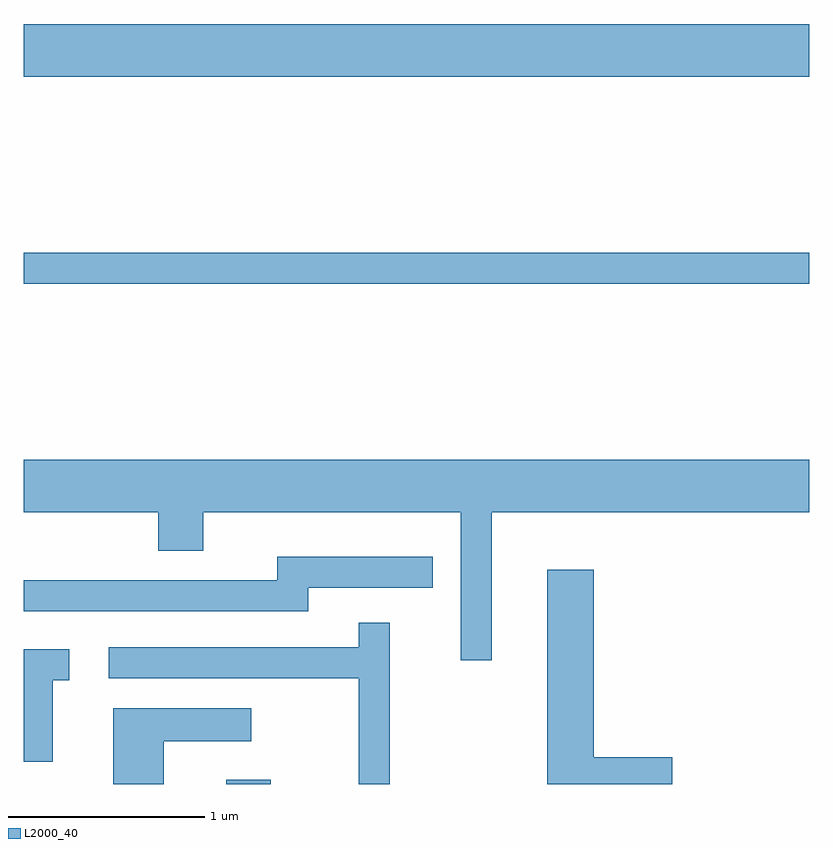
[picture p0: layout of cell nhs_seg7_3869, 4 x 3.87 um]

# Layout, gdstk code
import gdstk
lib = gdstk.Library(unit=1e-6, precision=1e-09)
def R(c, l, rs):  # rectangles x0, y0, x1, y1
    for r in rs: c.add(gdstk.rectangle(r[:2], r[2:], *l))
def P(c, l, *ps):  # polygons
    for p in ps: c.add(gdstk.Polygon(p, *l))
L2000_40 = (2000, 40)

nhs_seg7_3869 = lib.new_cell('nhs_seg7_3869')
R(nhs_seg7_3869, L2000_40, [(304.641,1726.252,304.869,1726.274), (303.611,1728.801,307.611,1728.959), (303.611,1729.856,307.611,1730.124)])
P(nhs_seg7_3869, L2000_40, [(305.994,1727.636),(307.611,1727.636),(307.611,1727.904),(303.611,1727.904),(303.611,1727.636),(304.296,1727.636),(304.296,1727.441),(304.524,1727.441),(304.524,1727.636),(305.836,1727.636),(305.836,1726.883),(305.994,1726.883)],
  [(305.059,1727.251),(305.693,1727.251),(305.693,1727.409),(304.901,1727.409),(304.901,1727.289),(303.611,1727.289),(303.611,1727.131),(305.059,1727.131)],
  [(306.914,1726.389),(306.514,1726.389),(306.514,1727.344),(306.276,1727.344),(306.276,1726.252),(306.914,1726.252)],
  [(305.474,1727.073),(305.316,1727.073),(305.316,1726.949),(304.043,1726.949),(304.043,1726.791),(305.316,1726.791),(305.316,1726.252),(305.474,1726.252)],
  [(303.759,1726.781),(303.843,1726.781),(303.843,1726.939),(303.611,1726.939),(303.611,1726.366),(303.759,1726.366)],
  [(304.324,1726.471),(304.768,1726.471),(304.768,1726.639),(304.066,1726.639),(304.066,1726.252),(304.324,1726.252)])

lib.write_gds('nhs_seg7_3869.gds')
